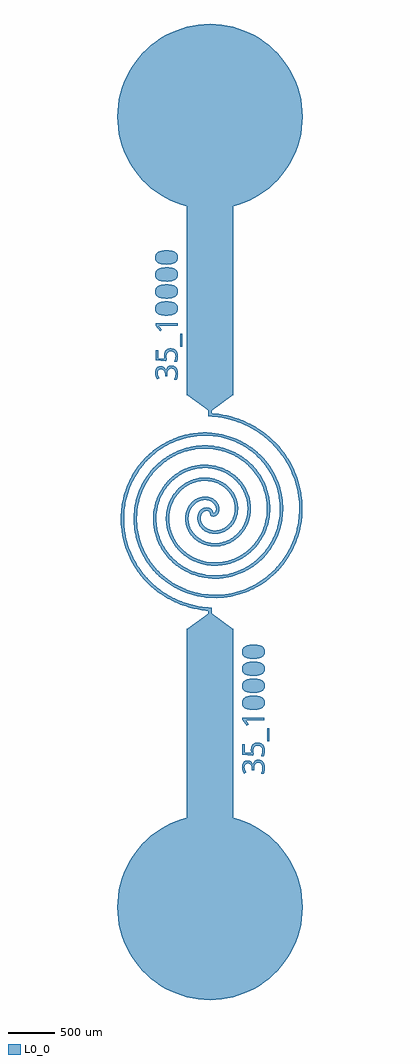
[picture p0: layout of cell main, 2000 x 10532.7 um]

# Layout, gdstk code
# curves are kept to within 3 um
import gdstk
lib = gdstk.Library(unit=1e-6, precision=1e-09)
def R(c, l, rs):  # rectangles x0, y0, x1, y1
    for r in rs: c.add(gdstk.rectangle(r[:2], r[2:], *l))
def P(c, l, *ps):  # polygons
    for p in ps: c.add(gdstk.Polygon(p, *l))
L0_0 = (0, 0)

main = lib.new_cell('main')
R(main, L0_0, [(30,-5452,530,-2448), (897.9,-3657.7,920.7,-3519.3), (262.5,-2452,297.5,-2217), (262.5,-154.3,297.5,80.7), (30,76.7,530,3080.7), (-40.1,597.2,-17.3,735.6)])
P(main, L0_0, [(743.8,-2739.5),(794.9,-2736.6),(830.4,-2724.5),(845,-2703.4),(845.4,-2686.8),(840,-2672.6),(814.1,-2655.2),(771.7,-2648.2),(713.5,-2649.2),(669.1,-2661.9),(656.5,-2674.4),(651.9,-2689.1),(653.8,-2707.6),(661.8,-2720.2),(692.4,-2734.7)],
  [(748.7,-2617.6),(711.1,-2619.9),(675.9,-2628.2),(655.4,-2638.4),(638.1,-2654.7),(628.3,-2675.8),(627,-2705.7),(634.6,-2729),(649.8,-2746.5),(697.1,-2765.6),(776,-2768.5),(825.1,-2757.8),(859.3,-2733),(868.2,-2715.2),(871.1,-2689.9),(865.9,-2664.8),(855.1,-2648.1),(817.4,-2625.9)],
  [(743.8,-2923.1),(794.9,-2920.2),(830.4,-2908.1),(845,-2887),(845.4,-2870.4),(840,-2856.2),(814.1,-2838.8),(771.7,-2831.8),(713.5,-2832.8),(669.1,-2845.5),(656.5,-2858),(651.9,-2872.7),(653.8,-2891.2),(661.8,-2903.8),(692.4,-2918.3)],
  [(748.7,-2801.2),(711.1,-2803.5),(675.9,-2811.8),(655.4,-2822),(638.1,-2838.3),(628.3,-2859.4),(627,-2889.3),(634.6,-2912.5),(649.8,-2930),(672.3,-2942.4),(697.1,-2949.2),(776,-2952.1),(825.1,-2941.4),(859.3,-2916.6),(868.2,-2898.9),(871.1,-2873.5),(865.9,-2848.4),(855.1,-2831.7),(817.4,-2809.5)],
  [(743.8,-3106.7),(801.7,-3102.6),(832.3,-3090.3),(845.4,-3068.3),(840,-3039.8),(814.1,-3022.4),(771.7,-3015.4),(702.4,-3017.9),(667.1,-3030.4),(656.5,-3041.6),(651.9,-3056.3),(653.8,-3074.8),(661.8,-3087.3),(692.4,-3101.9)],
  [(748.7,-2984.8),(711.1,-2987.1),(675.9,-2995.4),(655.4,-3005.6),(638.1,-3021.9),(628.3,-3043),(627,-3072.9),(634.6,-3096.1),(649.8,-3113.6),(672.3,-3126),(697.1,-3132.8),(776,-3135.7),(825.1,-3125),(859.3,-3100.1),(868.2,-3082.4),(871.1,-3057.1),(865.9,-3032),(855.1,-3015.3),(817.4,-2993.1)],
  [(743.8,-3290.3),(798.4,-3286.8),(832.3,-3273.9),(845.4,-3251.9),(840,-3223.4),(816.8,-3206.9),(771.7,-3199),(702.4,-3201.5),(667.1,-3214),(656.5,-3225.2),(651.9,-3239.9),(653.8,-3258.4),(661.8,-3270.9),(689.3,-3284.7)],
  [(748.7,-3168.4),(679.8,-3177.6),(655.4,-3189.2),(638.1,-3205.5),(628.3,-3226.6),(627,-3256.5),(634.6,-3279.7),(649.8,-3297.2),(672.3,-3309.6),(697.1,-3316.4),(765.4,-3320),(825.1,-3308.6),(857.3,-3286.4),(868.2,-3266),(871.1,-3240.7),(865.9,-3215.6),(855.1,-3198.9),(817.4,-3176.7)],
  [(868,-3404.2),(630,-3404.2),(630,-3428.7),(678.7,-3491),(698.7,-3475.4),(660.6,-3431.6),(868,-3432.9)],
  [(722,-3756.5),(725.2,-3785.9),(657,-3779.6),(657,-3693),(630,-3693),(630,-3805.3),(742,-3814.2),(751.3,-3799.6),(747,-3762),(753.1,-3730.1),(770.9,-3711.2),(797.5,-3706),(828,-3715.4),(843.1,-3737.6),(844.8,-3777.1),(830.4,-3819.3),(858.4,-3819.3),(863.6,-3808.6),(871.1,-3768),(866.9,-3727.8),(850.1,-3697.5),(825,-3681.1),(781.7,-3676.1),(749.5,-3688.4),(728.4,-3716.5)],
  [(683.1,-3867.8),(662.1,-3872.3),(646.6,-3882.4),(636.3,-3895.9),(628.7,-3916.5),(626.6,-3943.4),(629.8,-3966.5),(638.2,-3989.9),(651,-4009.9),(671.3,-3994.9),(656.1,-3967),(651.7,-3942.4),(654.6,-3920.8),(666.3,-3904.7),(687.6,-3898.2),(713.6,-3906.2),(722.5,-3915.2),(730.1,-3931.6),(732.7,-3974.6),(757.3,-3974.6),(758.8,-3931.7),(765.4,-3910.8),(780.4,-3895.3),(801.4,-3890.9),(828.5,-3899.6),(843.7,-3924.9),(844.9,-3967.2),(830.7,-4010.9),(858.4,-4010.9),(869,-3978.2),(870.4,-3930.9),(861.2,-3896.7),(845.4,-3875.8),(815.2,-3861.8),(795.6,-3860.6),(778.9,-3864.2),(756.5,-3882),(742.6,-3919.2),(735.2,-3896.4),(721.3,-3879.5),(705.3,-3870.8)],
  [(-198.8,1515.4),(-143.1,1518.3),(-107.5,1530.4),(-92.9,1551.5),(-92.5,1568.1),(-98,1582.3),(-123.8,1599.7),(-166.3,1606.7),(-228.2,1605.2),(-268.9,1593),(-280.3,1582.3),(-285.8,1568.1),(-284.8,1549.3),(-277.6,1536.3),(-245.5,1520.2)],
  [(-189.3,1637.3),(-258.1,1628),(-282.6,1616.4),(-299.8,1600.2),(-310.4,1575.6),(-311,1549.2),(-303.4,1525.9),(-288.1,1508.4),(-269.3,1497.5),(-240.9,1489.3),(-167.2,1486),(-109.2,1498.6),(-78.7,1521.9),(-69.7,1539.6),(-66.8,1565),(-72.1,1590),(-85.2,1609.2),(-124.7,1630.1)],
  [(-189.3,1331.7),(-136.3,1335.9),(-107.5,1346.8),(-92.9,1367.9),(-92.5,1384.5),(-98,1398.7),(-123.8,1416.1),(-166.3,1423.1),(-235.5,1420.6),(-270.9,1408),(-282.5,1395),(-286.3,1379.8),(-283.4,1361.6),(-274.5,1349.6),(-242.3,1335.9)],
  [(-189.3,1453.7),(-258.1,1444.4),(-282.6,1432.9),(-299.8,1416.6),(-310.4,1392),(-311,1365.6),(-303.4,1342.3),(-288.1,1324.8),(-240.9,1305.7),(-167.2,1302.4),(-109.2,1315),(-78.7,1338.3),(-69.7,1356),(-66.8,1381.4),(-72.1,1406.4),(-85.2,1425.6),(-120.6,1445.4)],
  [(-194.1,1148.2),(-143.1,1151.1),(-107.5,1163.2),(-92.9,1184.3),(-92.5,1200.9),(-98,1215.1),(-123.8,1232.5),(-166.3,1239.5),(-224.4,1238.5),(-268.9,1225.8),(-280.3,1215.1),(-286.1,1198.6),(-284.8,1182.1),(-276.1,1167.5),(-245.5,1153)],
  [(-189.3,1270.1),(-258.1,1260.8),(-282.6,1249.3),(-299.8,1233),(-310.4,1208.4),(-311,1182),(-303.4,1158.7),(-288.1,1141.2),(-240.9,1122.1),(-167.2,1118.8),(-109.2,1131.4),(-78.7,1154.7),(-69.7,1172.4),(-66.8,1197.8),(-72.1,1222.9),(-85.2,1242),(-120.6,1261.8)],
  [(-194.1,964.6),(-143.1,967.5),(-107.5,979.6),(-92.9,1000.7),(-92.5,1017.3),(-98,1031.5),(-123.8,1048.9),(-166.3,1055.9),(-224.4,1054.9),(-268.9,1042.2),(-280.3,1031.5),(-286.1,1015),(-284.8,998.5),(-276.1,983.9),(-245.5,969.4)],
  [(-189.3,1086.5),(-231.7,1083.5),(-262.1,1075.9),(-285.5,1063.6),(-299.8,1049.4),(-310.4,1024.8),(-311,998.4),(-303.4,975.2),(-288.1,957.7),(-265.7,945.3),(-240.9,938.5),(-167.2,935.2),(-112.9,946.3),(-78.7,971.1),(-68.8,992.1),(-66.8,1014.2),(-72.1,1039.3),(-85.2,1058.4),(-124.7,1079.3)],
  [(-70,850.6),(-308,850.6),(-308,826.2),(-259.3,763.9),(-239.3,779.5),(-277.4,823.3),(-70,822)],
  [(-216,503),(-212.7,469),(-280.9,475.3),(-280.9,561.9),(-308,561.9),(-308,449.6),(-196,440.6),(-186.7,455.3),(-190.8,498.2),(-184.9,524.8),(-167,543.7),(-140.5,548.9),(-109.9,539.5),(-94.3,515.3),(-93.7,474.6),(-107.6,435.6),(-79.6,435.6),(-74.9,445),(-66.9,485.3),(-71.1,527.1),(-87.9,557.4),(-113,573.8),(-156.2,578.8),(-188.4,566.5),(-208.4,541)],
  [(-254.8,387.1),(-271.5,384.2),(-287.9,375.5),(-300.4,361.2),(-308.6,341.3),(-311.4,316),(-308.6,290.3),(-301.3,268.3),(-287,245),(-266.6,260),(-280.8,285.2),(-286.3,312.5),(-283.4,334),(-271.6,350.2),(-246.4,356.5),(-223,347.6),(-213.4,336.5),(-207.3,321.2),(-205.2,280.3),(-180.7,280.3),(-180.1,315.7),(-173.5,342.3),(-160.6,357.8),(-138.7,364),(-114,358.3),(-97.9,340.4),(-92.8,322.9),(-92.3,294),(-97.5,268.1),(-107.3,244),(-79.6,244),(-68.5,279.9),(-68,328),(-76.8,358.2),(-94.7,380.8),(-125.6,393.6),(-159.1,390.7),(-181.4,372.9),(-195.3,335.7),(-201.8,356.7),(-216.7,375.4),(-232.6,384.1)],
  [(280,-2252),(281.9,-2217.1),(155.5,-2202.3),(73.2,-2183.8),(-6.8,-2158.6),(-121.6,-2108.7),(-245.3,-2033.3),(-340.8,-1955.5),(-438.1,-1851.1),(-508,-1751.9),(-572.4,-1627.2),(-612.3,-1514.6),(-640.2,-1379.3),(-647.9,-1242.5),(-635.6,-1107.3),(-603.8,-976.4),(-561.9,-870),(-497,-754.5),(-416.7,-650.8),(-337,-572.8),(-248.8,-506),(-153.7,-451.2),(-53.3,-409.2),(50.9,-380.4),(139.1,-366.7),(263.1,-363.2),(367.8,-374.7),(469.5,-399.1),(582,-443),(671.5,-493),(753.4,-553.4),(826.4,-623),(898.9,-714.1),(949.3,-799.2),(988.3,-889.2),(1015.4,-982.5),(1028.7,-1061.8),(1033.6,-1141.3),(1026.4,-1251.6),(1007.5,-1343.5),(983.3,-1417.1),(944.5,-1500.8),(896,-1578.1),(838.6,-1648),(773.5,-1709.6),(701.9,-1761.9),(625,-1804.3),(544.2,-1836.4),(446.8,-1860.3),(362.3,-1869.1),(292.1,-1868.2),(209.3,-1857.5),(129.5,-1836.7),(53.7,-1806.2),(-5.5,-1774),(-60.5,-1736.1),(-120.2,-1683.9),(-172.2,-1625.1),(-215.8,-1561),(-245.5,-1504.3),(-272.6,-1433.4),(-290.4,-1360.4),(-298.7,-1286.7),(-297.6,-1213.4),(-284.8,-1130),(-264.4,-1061.5),(-235.8,-997),(-206.3,-946.9),(-172,-900.7),(-125.3,-851.1),(-82.3,-814.9),(-26.7,-778.2),(22.3,-753.6),(73.1,-734.4),(135.4,-718.9),(198.4,-711.5),(260.9,-712.1),(311.9,-718.6),(371,-733.3),(426.9,-755.1),(478.9,-783.3),(526.2,-817.4),(574.5,-863.6),(629.3,-939.2),(665.9,-1022.5),(684.4,-1117.9),(680.4,-1212),(666.8,-1268.9),(652.2,-1307.3),(629.8,-1350.4),(602.6,-1389.4),(536.3,-1453.9),(458.9,-1497.7),(397.1,-1516.1),(321.2,-1521.8),(249,-1510.1),(189.7,-1486),(130,-1443.1),(91.8,-1398.6),(61.2,-1338.8),(48.3,-1281.7),(48.1,-1235.9),(57.9,-1188.4),(74.5,-1150.3),(97.2,-1117.7),(127.7,-1089.2),(161.6,-1069.3),(203.8,-1056.9),(241.1,-1055.9),(282.9,-1066.8),(318.8,-1091.4),(340.6,-1124.3),(345.6,-1163),(334.5,-1189),(314.9,-1201.4),(310.6,-1180),(298.2,-1160.1),(279.5,-1145.7),(257.1,-1138.1),(233,-1137.6),(209.1,-1144.3),(187,-1157.6),(168.2,-1176.9),(147.8,-1220),(144.5,-1268.1),(158.9,-1318.3),(194.4,-1367.1),(232.6,-1395.4),(270.1,-1411.6),(312,-1420.1),(356.5,-1419.9),(406.9,-1408.8),(451,-1388.6),(491.7,-1358.9),(523.4,-1325.1),(560,-1262.8),(578,-1202.6),(582.4,-1130.9),(571.1,-1064),(544.7,-999),(503.6,-939.1),(448.9,-887.8),(389.6,-851.6),(338,-831.2),(290.9,-819.9),(200,-815),(116,-829.6),(27,-866.9),(-53.3,-925.6),(-114.2,-995.9),(-139.2,-1036.2),(-163.7,-1088.5),(-189.5,-1183.1),(-195.3,-1242.9),(-194.2,-1293.6),(-185.7,-1354.7),(-169.3,-1415),(-145,-1473.6),(-113.1,-1529.4),(-73.7,-1581.3),(-35.7,-1620.9),(6.8,-1656.7),(63.2,-1693.9),(114,-1719.4),(178.9,-1743.1),(247.1,-1758.5),(305.8,-1764.7),(365.4,-1764.7),(437.1,-1756.3),(496.4,-1742.2),(565.8,-1716.9),(632.2,-1682.5),(694.5,-1639.6),(751.4,-1588.5),(794.1,-1540.2),(838.6,-1476),(875.1,-1406),(898.8,-1343.8),(918.5,-1265.7),(927.4,-1198.4),(928.6,-1116.2),(921.6,-1047.4),(903.5,-965.6),(874.9,-885.9),(836.1,-809.6),(787.4,-738.2),(729.5,-672.8),(663.2,-614.7),(589.4,-565),(509,-524.5),(423.4,-494.3),(333.8,-474.9),(257.1,-467.4),(163.8,-469.2),(70.6,-482.9),(-5.9,-503.4),(-94.9,-538.7),(-179.5,-585.4),(-258.3,-642.9),(-329.8,-710.5),(-382.9,-773.9),(-437.9,-857.5),(-482.2,-948.1),(-515.1,-1044.4),(-535.7,-1145),(-543.1,-1230.9),(-540,-1335.1),(-523.7,-1439),(-494.2,-1540.8),(-451.7,-1638.9),(-396.7,-1731.6),(-341.9,-1803.6),(-266,-1882.3),(-195.1,-1940.7),(-101.8,-2000.8),(-18.1,-2041.9),(88,-2079.5),(180.2,-2100.6),(312.8,-2113.7),(427.9,-2109.3),(523.5,-2094.4),(617.6,-2069.5),(727,-2026.4),(830.9,-1969.5),(911.9,-1912),(987,-1845.9),(1067.8,-1756.1),(1137.1,-1656.1),(1185.3,-1566.1),(1223.9,-1470.9),(1252.5,-1371.6),(1270.6,-1269.3),(1278,-1144.1),(1274.2,-1060),(1263.3,-976.1),(1233.6,-852.1),(1205,-771.5),(1159.8,-674),(1116.1,-599.4),(1052.7,-511.3),(995.2,-445.7),(915.5,-370.3),(827.9,-303.4),(733.2,-245.7),(653,-206.7),(548.2,-167.5),(461.2,-144.1),(372.3,-128),(281.9,-119.4),(280,-154.3),(432.2,-173.7),(558.3,-207.6),(697.5,-266.5),(825.7,-344.5),(924.6,-425.2),(1012,-517),(1086.7,-618.4),(1156.3,-746.4),(1200.1,-862.4),(1232.1,-1002.3),(1242.8,-1123.9),(1239.9,-1225),(1233.2,-1285),(1203,-1421.6),(1153.6,-1551.2),(1096.9,-1654.7),(1015.5,-1764.3),(934.3,-1847.3),(859.6,-1907.7),(762.9,-1968.9),(660.1,-2017.2),(534.6,-2056.2),(442.9,-2072.4),(332.1,-2079),(222.3,-2071.6),(115.1,-2050.6),(-4.4,-2009.7),(-100.2,-1961.4),(-188.4,-1901.8),(-267.8,-1832.3),(-347.7,-1740.1),(-412.5,-1638.2),(-455.3,-1544.9),(-485.7,-1447.8),(-503.5,-1348.5),(-508.6,-1265.3),(-503.1,-1166.2),(-485.4,-1069.4),(-455.9,-976.5),(-415.3,-888.8),(-364.4,-807.7),(-304.2,-734.4),(-235.9,-669.8),(-160.7,-614.9),(-80,-570.4),(-9.4,-541.5),(77.9,-517.1),(166.7,-504.1),(270.2,-503.2),(343,-511.8),(441.5,-536.4),(495.3,-556.7),(571.7,-595.2),(641.9,-642.4),(704.9,-697.6),(759.8,-759.7),(798.9,-815.8),(842.8,-899.7),(869.9,-975.3),(887,-1052.8),(893.6,-1117.9),(892.5,-1195.7),(884.1,-1259.3),(861.4,-1345.1),(832.5,-1414.4),(795.5,-1478.8),(759,-1527.9),(717.9,-1572.5),(663.4,-1619.3),(604,-1658.5),(551.8,-1684.8),(486.5,-1708.6),(419.7,-1723.7),(363.5,-1729.7),(296.5,-1729.1),(231.1,-1720),(168.2,-1703),(108.7,-1678.4),(53.6,-1646.9),(3.7,-1609.2),(-40.5,-1566.1),(-72.4,-1526.6),(-104.5,-1475.8),(-129.5,-1422.1),(-144.8,-1375.8),(-159.9,-1281.6),(-153.4,-1179.7),(-124.2,-1084.8),(-75.3,-1001.9),(-41.6,-963.1),(-3.9,-929.5),(30,-905.7),(80.5,-879.3),(156.2,-855.9),(240.3,-849.5),(313.6,-860.6),(380.7,-886.2),(443.9,-928.7),(489.5,-977.3),(524.9,-1038.4),(545,-1109.2),(547.2,-1167.9),(538.6,-1218.1),(518.6,-1268.5),(492.6,-1307.5),(457.1,-1342.2),(416.8,-1367.1),(374.2,-1381.6),(323.6,-1385.9),(269.8,-1374.4),(218.7,-1341.9),(188,-1297.6),(180.5,-1272.7),(179.2,-1243.3),(185.4,-1217.3),(196.2,-1198),(216.5,-1179.6),(235.9,-1172.6),(254.1,-1173.1),(270.5,-1181.8),(278.5,-1194),(284.7,-1218.8),(301.9,-1232),(330.6,-1232.3),(355.7,-1217.5),(375.5,-1186.8),(381.3,-1152.6),(374.2,-1114.3),(350.5,-1074.1),(325.4,-1051.1),(293.7,-1033.4),(256.5,-1022.7),(215.6,-1020.5),(177.2,-1026.8),(143.2,-1039.2),(106.8,-1061.1),(77.4,-1087.4),(44,-1133.2),(21.4,-1188.2),(12.2,-1249.9),(18.2,-1315),(40.4,-1379.5),(70.5,-1429),(111.1,-1473.1),(160.9,-1509.9),(232.4,-1541.7),(319.7,-1556.8),(403.8,-1550.4),(449.6,-1538.4),(494.2,-1520.3),(570.4,-1471.6),(630,-1411.2),(676.7,-1337.6),(709.7,-1244.6),(718.5,-1190.1),(720.3,-1134.1),(714.9,-1077.5),(702.1,-1021.1),(682,-966.1),(654.6,-913.2),(626.4,-871.6),(586.5,-825.3),(548.4,-790.4),(497.6,-753.7),(441.7,-723.3),(391.9,-703.3),(285.5,-679.3),(218.9,-675.8),(162.8,-679.4),(95.6,-691.7),(29.7,-712.6),(-33.8,-742.1),(-93.8,-779.9),(-149.2,-825.5),(-199,-878.4),(-242.2,-937.9),(-277.9,-1003.1),(-309.2,-1085.3),(-324.1,-1147.1),(-332.5,-1210.6),(-333.6,-1288.4),(-322.4,-1379.5),(-306,-1443.8),(-282.8,-1506.6),(-252.7,-1567.1),(-208.1,-1635.7),(-154.6,-1698.8),(-92.9,-1755.2),(-23.8,-1803.9),(64.7,-1849.6),(132.3,-1874.3),(217,-1894.5),(304.5,-1903.9),(393.4,-1902.2),(482.1,-1889.2),(569.4,-1864.8),(640,-1835.9),(707.6,-1799.6),(783.8,-1746.3),(842.3,-1694.5),(905.3,-1623.9),(967.5,-1531.5),(1009.9,-1444.8),(1036.9,-1368.4),(1058.6,-1272.7),(1067.4,-1190.8),(1066.6,-1091.1),(1053,-991.4),(1026.8,-893.4),(988.1,-798.7),(937.4,-708.8),(875.2,-625.4),(815.2,-561.8),(734.3,-493.8),(660.2,-445),(564.4,-396.6),(479.8,-365.6),(373.9,-340.2),(283.1,-329.3),(172.5,-328.9),(62,-342.5),(-46.8,-370.1),(-134.9,-403.7),(-219.5,-446.7),(-315,-510),(-402.5,-585.5),(-468.1,-656.8),(-526.2,-735.2),(-585,-837.3),(-624.1,-928.1),(-658.4,-1042.6),(-673.2,-1121.3),(-682.9,-1241.9),(-680.9,-1323),(-668.8,-1424.2),(-651.4,-1504.3),(-620.1,-1602.5),(-578.4,-1697.4),(-526.7,-1787.9),(-465.4,-1873.1),(-409.8,-1936.5),(-348.9,-1995.4),(-265.7,-2061.8),(-175.4,-2119.4),(-98.8,-2158.7),(1.7,-2198.7),(85.2,-2223.1),(192.5,-2243.7)],
  [(30,-2452),(530,-2452),(280,-2265.1),(297.5,-2252),(262.5,-2252),(280,-2265.1)],
  [(30,80.7),(280,-106.2),(262.5,-119.3),(297.5,-119.3),(280,-106.2),(530,80.7)],
  [(1280,-5452),(1272.1,-5326.7),(1262.3,-5264.6),(1231.1,-5143),(1209.8,-5083.9),(1184.8,-5026.2),(1124.3,-4916.2),(1089,-4864.2),(1009,-4767.5),(964.5,-4723),(867.8,-4643),(761.7,-4575.7),(648.1,-4522.2),(589,-4500.9),(467.4,-4469.7),(405.3,-4459.9),(280,-4452),(154.7,-4459.9),(92.6,-4469.7),(-29,-4500.9),(-88.1,-4522.2),(-201.8,-4575.7),(-255.8,-4607.7),(-307.8,-4643),(-404.5,-4723),(-449,-4767.5),(-529,-4864.2),(-596.3,-4970.3),(-649.8,-5083.9),(-671.1,-5143),(-702.3,-5264.6),(-712.1,-5326.7),(-720,-5452),(-712.1,-5577.3),(-702.3,-5639.4),(-671.1,-5761),(-649.8,-5820.1),(-624.8,-5877.8),(-564.3,-5987.8),(-529,-6039.8),(-449,-6136.5),(-404.5,-6181),(-307.8,-6261),(-201.8,-6328.3),(-88.1,-6381.8),(31.3,-6420.6),(92.6,-6434.3),(154.7,-6444.1),(280,-6452),(405.3,-6444.1),(467.4,-6434.3),(528.7,-6420.6),(648.1,-6381.8),(705.8,-6356.8),(815.8,-6296.3),(867.8,-6261),(964.5,-6181),(1009,-6136.5),(1089,-6039.8),(1156.3,-5933.7),(1209.8,-5820.1),(1231.1,-5761),(1262.3,-5639.4),(1272.1,-5577.3)],
  [(1280,-5452),(1272.1,-5326.7),(1262.3,-5264.6),(1231.1,-5143),(1209.8,-5083.9),(1184.8,-5026.2),(1124.3,-4916.2),(1089,-4864.2),(1009,-4767.5),(964.5,-4723),(867.8,-4643),(761.7,-4575.7),(648.1,-4522.2),(589,-4500.9),(467.4,-4469.7),(405.3,-4459.9),(280,-4452),(154.7,-4459.9),(92.6,-4469.7),(-29,-4500.9),(-88.1,-4522.2),(-201.8,-4575.7),(-255.8,-4607.7),(-307.8,-4643),(-404.5,-4723),(-449,-4767.5),(-529,-4864.2),(-596.3,-4970.3),(-649.8,-5083.9),(-671.1,-5143),(-702.3,-5264.6),(-712.1,-5326.7),(-720,-5452),(-712.1,-5577.3),(-702.3,-5639.4),(-671.1,-5761),(-649.8,-5820.1),(-624.8,-5877.8),(-564.3,-5987.8),(-529,-6039.8),(-449,-6136.5),(-404.5,-6181),(-307.8,-6261),(-201.8,-6328.3),(-88.1,-6381.8),(31.3,-6420.6),(92.6,-6434.3),(154.7,-6444.1),(280,-6452),(405.3,-6444.1),(467.4,-6434.3),(528.7,-6420.6),(648.1,-6381.8),(705.8,-6356.8),(815.8,-6296.3),(867.8,-6261),(964.5,-6181),(1009,-6136.5),(1089,-6039.8),(1156.3,-5933.7),(1209.8,-5820.1),(1231.1,-5761),(1262.3,-5639.4),(1272.1,-5577.3)],
  [(1280,3080.7),(1272.1,3206),(1262.3,3268.1),(1231.1,3389.7),(1209.8,3448.8),(1184.8,3506.5),(1124.3,3616.5),(1089,3668.5),(1009,3765.2),(964.5,3809.7),(867.8,3889.7),(761.7,3957),(648.1,4010.5),(528.7,4049.3),(467.4,4063),(405.3,4072.8),(280,4080.7),(154.7,4072.8),(92.6,4063),(31.3,4049.3),(-88.1,4010.5),(-201.8,3957),(-255.8,3925),(-307.8,3889.7),(-404.5,3809.7),(-449,3765.2),(-529,3668.5),(-596.3,3562.4),(-649.8,3448.8),(-671.1,3389.7),(-702.3,3268.1),(-712.1,3206),(-720,3080.7),(-712.1,2955.3),(-702.3,2893.3),(-671.1,2771.7),(-649.8,2712.6),(-596.3,2598.9),(-564.3,2544.9),(-529,2492.9),(-449,2396.1),(-357.4,2310.2),(-307.8,2271.7),(-201.8,2204.4),(-88.1,2150.9),(-29,2129.6),(92.6,2098.4),(217.2,2082.6),(280,2080.7),(342.8,2082.6),(467.4,2098.4),(589,2129.6),(648.1,2150.9),(761.7,2204.4),(867.8,2271.7),(917.4,2310.2),(1009,2396.1),(1089,2492.9),(1124.3,2544.9),(1156.3,2598.9),(1209.8,2712.6),(1231.1,2771.7),(1262.3,2893.3),(1272.1,2955.3)],
  [(1280,3080.7),(1272.1,3206),(1262.3,3268.1),(1231.1,3389.7),(1209.8,3448.8),(1184.8,3506.5),(1124.3,3616.5),(1089,3668.5),(1009,3765.2),(964.5,3809.7),(867.8,3889.7),(761.7,3957),(648.1,4010.5),(528.7,4049.3),(467.4,4063),(405.3,4072.8),(280,4080.7),(154.7,4072.8),(92.6,4063),(31.3,4049.3),(-88.1,4010.5),(-201.8,3957),(-255.8,3925),(-307.8,3889.7),(-404.5,3809.7),(-449,3765.2),(-529,3668.5),(-596.3,3562.4),(-649.8,3448.8),(-671.1,3389.7),(-702.3,3268.1),(-712.1,3206),(-720,3080.7),(-712.1,2955.3),(-702.3,2893.3),(-671.1,2771.7),(-649.8,2712.6),(-596.3,2598.9),(-564.3,2544.9),(-529,2492.9),(-449,2396.1),(-357.4,2310.2),(-307.8,2271.7),(-201.8,2204.4),(-88.1,2150.9),(-29,2129.6),(92.6,2098.4),(217.2,2082.6),(280,2080.7),(342.8,2082.6),(467.4,2098.4),(589,2129.6),(648.1,2150.9),(761.7,2204.4),(867.8,2271.7),(917.4,2310.2),(1009,2396.1),(1089,2492.9),(1124.3,2544.9),(1156.3,2598.9),(1209.8,2712.6),(1231.1,2771.7),(1262.3,2893.3),(1272.1,2955.3)])

lib.write_gds('main.gds')
